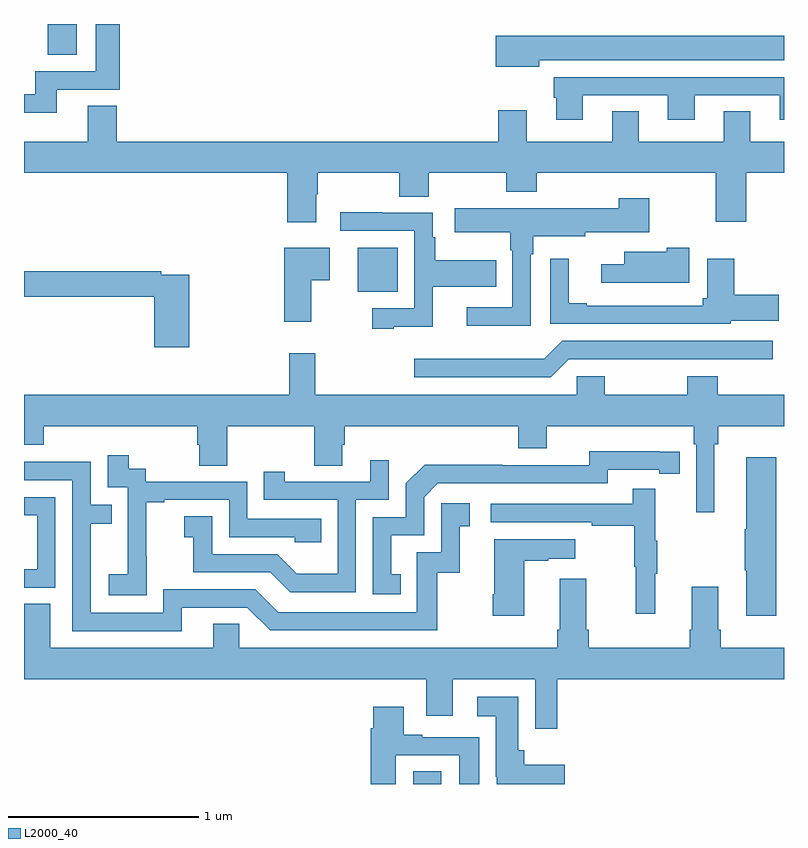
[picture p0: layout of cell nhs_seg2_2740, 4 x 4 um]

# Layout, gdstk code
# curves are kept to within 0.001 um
import gdstk
lib = gdstk.Library(unit=1e-6, precision=1e-09)
def R(c, l, rs):  # rectangles x0, y0, x1, y1
    for r in rs: c.add(gdstk.rectangle(r[:2], r[2:], *l))
def P(c, l, *ps):  # polygons
    for p in ps: c.add(gdstk.Polygon(p, *l))
L2000_40 = (2000, 40)

nhs_seg2_2740 = lib.new_cell('nhs_seg2_2740')
R(nhs_seg2_2740, L2000_40, [(257.048,597.8,257.197,597.866), (256.757,600.392,256.966,600.622), (255.125,601.638,255.277,601.8)])
P(nhs_seg2_2740, L2000_40, [(255.172,601.455),(255.503,601.455),(255.503,601.8),(255.377,601.8),(255.377,601.551),(255.059,601.551),(255.059,601.431),(255,601.431),(255,601.334),(255.172,601.334)],
  [(257.713,601.61),(259,601.61),(259,601.738),(257.484,601.738),(257.484,601.574),(257.713,601.574)],
  [(257.941,601.425),(258.389,601.425),(258.389,601.296),(258.529,601.296),(258.529,601.425),(258.977,601.425),(258.977,601.296),(259,601.296),(259,601.521),(257.789,601.521),(257.789,601.413),(257.801,601.413),(257.801,601.296),(257.941,601.296)],
  [(256.537,600.904),(256.545,600.904),(256.545,601.016),(256.975,601.016),(256.975,600.892),(257.13,600.892),(257.13,601.016),(257.539,601.016),(257.539,600.917),(257.699,600.917),(257.699,601.016),(258.64,601.016),(258.64,600.759),(258.8,600.759),(258.8,601.016),(259,601.016),(259,601.18),(258.823,601.18),(258.823,601.34),(258.683,601.34),(258.683,601.18),(258.235,601.18),(258.235,601.34),(258.095,601.34),(258.095,601.18),(257.647,601.18),(257.647,601.345),(257.495,601.345),(257.495,601.18),(255.488,601.18),(255.488,601.37),(255.335,601.37),(255.335,601.18),(255,601.18),(255,601.016),(256.385,601.016),(256.385,600.756),(256.537,600.756)],
  [(257.667,600.587),(257.68,600.587),(257.68,600.683),(257.955,600.683),(257.955,600.704),(258.291,600.704),(258.291,600.883),(258.131,600.883),(258.131,600.829),(257.267,600.829),(257.267,600.704),(257.559,600.704),(257.559,600.608),(257.571,600.608),(257.571,600.309),(257.331,600.309),(257.331,600.212),(257.667,600.212)],
  [(256.945,600.206),(257.152,600.206),(257.152,600.416),(257.486,600.416),(257.486,600.556),(257.164,600.556),(257.164,600.678),(257.151,600.678),(257.151,600.807),(256.886,600.807),(256.886,600.809),(256.665,600.809),(256.665,600.711),(257.055,600.711),(257.055,600.303),(256.833,600.303),(256.833,600.195),(256.945,600.195)],
  [(256.512,600.452),(256.609,600.452),(256.609,600.622),(256.37,600.622),(256.37,600.234),(256.512,600.234)],
  [(258.502,600.622),(258.384,600.622),(258.384,600.601),(258.158,600.601),(258.158,600.535),(258.039,600.535),(258.039,600.437),(258.502,600.437)],
  [(258.72,600.239),(258.973,600.239),(258.973,600.374),(258.737,600.374),(258.737,600.565),(258.596,600.565),(258.596,600.357),(258.572,600.357),(258.572,600.318),(257.962,600.318),(257.962,600.331),(257.866,600.331),(257.866,600.565),(257.769,600.565),(257.769,600.222),(258.72,600.222)],
  [(255.869,600.48),(255.722,600.48),(255.722,600.5),(255,600.5),(255,600.364),(255.686,600.364),(255.686,600.099),(255.869,600.099)],
  [(257.868,600.036),(258.145,600.036),(258.145,600.035),(258.401,600.035),(258.401,600.036),(258.94,600.036),(258.94,600.132),(257.832,600.132),(257.737,600.037),(257.055,600.037),(257.055,599.94),(257.772,599.94)],
  [(258.634,599.588),(258.653,599.588),(258.653,599.684),(259,599.684),(259,599.848),(258.65,599.848),(258.65,599.947),(258.49,599.947),(258.49,599.848),(258.057,599.848),(258.057,599.946),(257.91,599.946),(257.91,599.848),(256.532,599.848),(256.532,600.067),(256.396,600.067),(256.396,599.848),(255,599.848),(255,599.585),(255.104,599.585),(255.104,599.684),(255.911,599.684),(255.911,599.586),(255.923,599.586),(255.923,599.476),(256.071,599.476),(256.071,599.684),(256.528,599.684),(256.528,599.476),(256.675,599.476),(256.675,599.586),(256.688,599.586),(256.688,599.684),(257.6,599.684),(257.6,599.567),(257.752,599.567),(257.752,599.684),(258.524,599.684),(258.524,599.588),(258.537,599.588),(258.537,599.229),(258.634,599.229)],
  [(256.982,598.905),(256.933,598.905),(256.933,599.109),(257.106,599.109),(257.106,599.31),(257.178,599.382),(258.072,599.382),(258.072,599.454),(258.344,599.454),(258.344,599.434),(258.452,599.434),(258.452,599.55),(257.976,599.551),(257.976,599.478),(257.516,599.478),(257.516,599.48),(257.108,599.48),(257.01,599.382),(257.01,599.205),(256.836,599.205),(256.836,598.8),(256.982,598.8)],
  [(255.645,598.999),(255.644,598.999),(255.644,599.283),(255.739,599.283),(255.739,599.295),(256.08,599.295),(256.08,599.1),(256.425,599.1),(256.425,599.073),(256.565,599.073),(256.565,599.196),(256.176,599.196),(256.176,599.391),(255.642,599.391),(255.642,599.46),(255.55,599.46),(255.55,599.53),(255.441,599.53),(255.441,599.361),(255.546,599.361),(255.546,599.132),(255.545,599.132),(255.545,598.903),(255.447,598.903),(255.447,598.793),(255.645,598.793)],
  [(258.959,599.521),(258.8,599.521),(258.8,599.141),(258.793,599.141),(258.793,598.924),(258.8,598.924),(258.8,598.686),(258.959,598.686)],
  [(256.746,599.295),(256.92,599.295),(256.92,599.503),(256.823,599.503),(256.823,599.391),(256.372,599.391),(256.372,599.443),(256.261,599.443),(256.261,599.295),(256.65,599.295),(256.65,598.906),(256.436,598.906),(256.332,599.01),(255.99,599.01),(255.99,599.209),(255.843,599.209),(255.843,599.099),(255.892,599.099),(255.892,598.914),(256.295,598.914),(256.4,598.809),(256.746,598.809)],
  [(255.829,598.728),(256.176,598.728),(256.296,598.608),(257.176,598.608),(257.176,598.911),(257.294,598.911),(257.294,599.157),(257.347,599.157),(257.347,599.278),(257.196,599.278),(257.196,599.019),(257.067,599.019),(257.067,598.704),(256.338,598.704),(256.218,598.824),(255.732,598.824),(255.732,598.701),(255.351,598.701),(255.351,599.17),(255.461,599.17),(255.461,599.271),(255.351,599.271),(255.351,599.496),(255,599.496),(255,599.4),(255.255,599.4),(255.255,598.605),(255.829,598.605)],
  [(258.323,598.907),(258.334,598.907),(258.334,599.081),(258.323,599.081),(258.323,599.353),(258.205,599.353),(258.205,599.274),(257.457,599.274),(257.457,599.178),(257.989,599.178),(257.989,599.158),(258.213,599.158),(258.213,598.944),(258.22,598.944),(258.22,598.695),(258.323,598.695)],
  [(255.165,599.31),(255,599.31),(255,599.214),(255.069,599.214),(255.069,598.929),(255,598.929),(255,598.833),(255.165,598.833)],
  [(257.632,598.975),(257.759,598.975),(257.759,598.985),(257.902,598.985),(257.902,599.089),(257.474,599.089),(257.474,598.798),(257.467,598.798),(257.467,598.686),(257.632,598.686)],
  [(257.807,598.352),(259,598.352),(259,598.516),(258.668,598.516),(258.668,598.612),(258.655,598.612),(258.655,598.837),(258.515,598.837),(258.515,598.612),(258.503,598.612),(258.503,598.516),(257.972,598.516),(257.972,598.612),(257.959,598.612),(257.959,598.879),(257.819,598.879),(257.819,598.612),(257.807,598.612),(257.807,598.516),(256.134,598.516),(256.134,598.643),(255.995,598.643),(255.995,598.516),(255.139,598.516),(255.139,598.748),(255,598.748),(255,598.352),(257.117,598.352),(257.117,598.158),(257.257,598.158),(257.257,598.352),(257.691,598.352),(257.691,598.092),(257.807,598.092)],
  [(257.845,597.901),(257.633,597.901),(257.633,597.978),(257.602,597.978),(257.602,598.258),(257.385,598.258),(257.385,598.157),(257.483,598.157),(257.483,597.838),(257.487,597.838),(257.487,597.8),(257.845,597.8)],
  [(256.957,597.951),(257.291,597.951),(257.291,597.8),(257.395,597.8),(257.395,598.047),(257.095,598.047),(257.095,598.06),(256.999,598.06),(256.999,598.207),(256.838,598.207),(256.838,598.094),(256.826,598.094),(256.826,597.8),(256.957,597.8)])

lib.write_gds('nhs_seg2_2740.gds')
